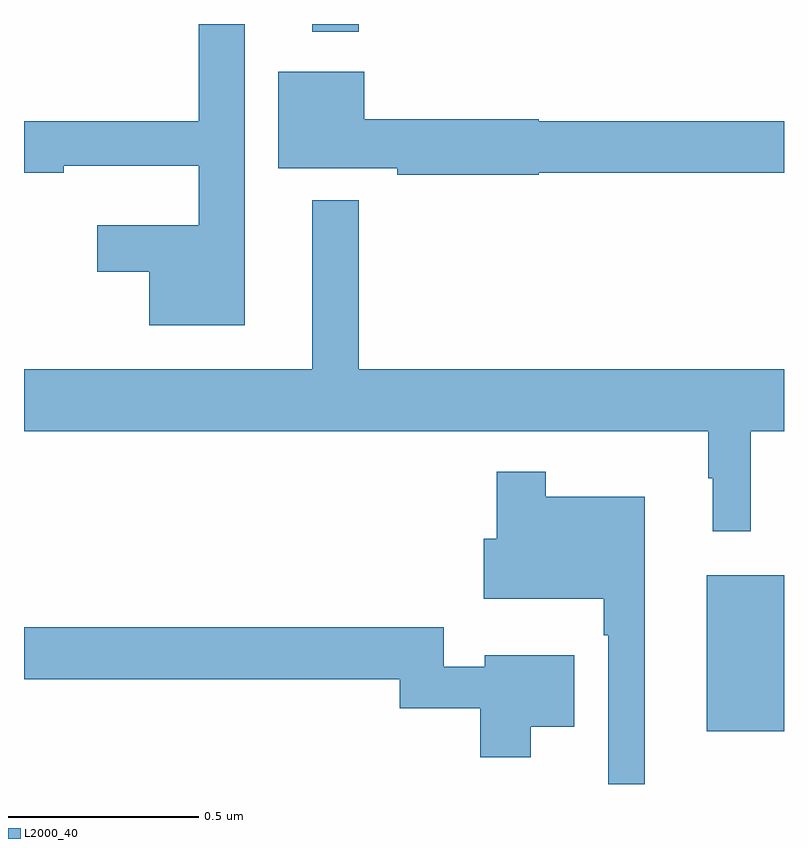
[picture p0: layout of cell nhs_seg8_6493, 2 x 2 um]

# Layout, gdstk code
import gdstk
lib = gdstk.Library(unit=1e-6, precision=1e-09)
def R(c, l, rs):  # rectangles x0, y0, x1, y1
    for r in rs: c.add(gdstk.rectangle(r[:2], r[2:], *l))
def P(c, l, *ps):  # polygons
    for p in ps: c.add(gdstk.Polygon(p, *l))
L2000_40 = (2000, 40)

nhs_seg8_6493 = lib.new_cell('nhs_seg8_6493')
R(nhs_seg8_6493, L2000_40, [(198.797,1121.039,199,1121.449), (197.759,1122.879,197.881,1122.9)])
P(nhs_seg8_6493, L2000_40, [(197.581,1122.9),(197.46,1122.9),(197.46,1122.644),(197,1122.644),(197,1122.508),(197.105,1122.508),(197.105,1122.527),(197.46,1122.527),(197.46,1122.37),(197.193,1122.37),(197.193,1122.248),(197.33,1122.248),(197.33,1122.107),(197.581,1122.107)],
  [(198.354,1122.508),(199,1122.508),(199,1122.644),(198.354,1122.644),(198.354,1122.65),(197.896,1122.65),(197.896,1122.775),(197.669,1122.775),(197.669,1122.521),(197.982,1122.521),(197.982,1122.503),(198.354,1122.503)],
  [(198.912,1121.828),(199,1121.828),(199,1121.992),(197.881,1121.992),(197.881,1122.436),(197.759,1122.436),(197.759,1121.992),(197,1121.992),(197,1121.828),(198.801,1121.828),(198.801,1121.705),(198.812,1121.705),(198.812,1121.565),(198.912,1121.565)],
  [(198.634,1121.656),(198.373,1121.656),(198.373,1121.722),(198.244,1121.722),(198.244,1121.545),(198.21,1121.545),(198.21,1121.387),(198.525,1121.387),(198.525,1121.291),(198.537,1121.291),(198.537,1120.9),(198.634,1120.9)],
  [(198.334,1121.051),(198.448,1121.051),(198.448,1121.239),(198.212,1121.239),(198.212,1121.209),(198.105,1121.209),(198.105,1121.312),(197,1121.312),(197,1121.176),(197.989,1121.176),(197.989,1121.1),(198.2,1121.1),(198.2,1120.97),(198.334,1120.97)])

lib.write_gds('nhs_seg8_6493.gds')
